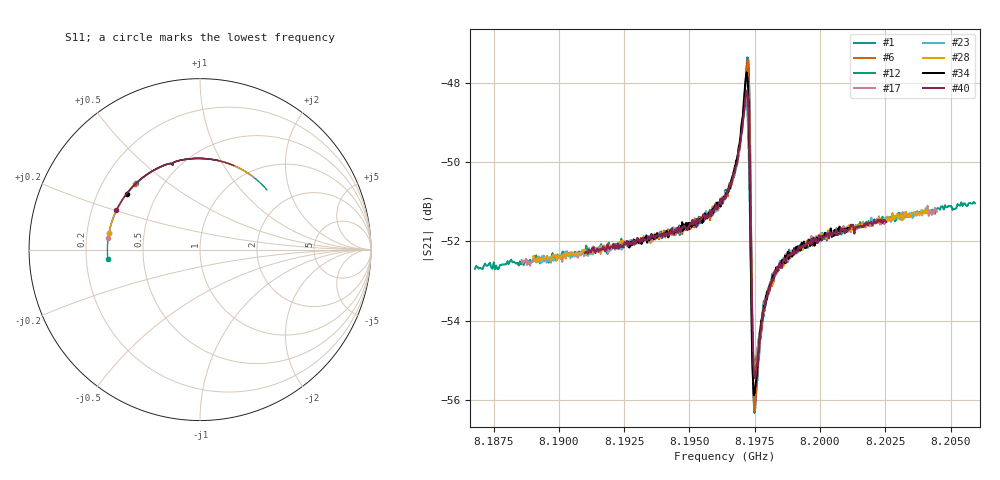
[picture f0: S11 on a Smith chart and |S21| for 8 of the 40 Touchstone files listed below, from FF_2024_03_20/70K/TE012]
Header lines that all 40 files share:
#  HZ  S  RI  R  50.00
! Rohde & Schwarz Vector Network Analyzer
! Rohde-Schwarz,ZNB20-2Port,1311601062101988,3.16
! freq[Hz]  re:S11  im:S11  re:S21  im:S21  re:S12  im:S12  re:S22  im:S22
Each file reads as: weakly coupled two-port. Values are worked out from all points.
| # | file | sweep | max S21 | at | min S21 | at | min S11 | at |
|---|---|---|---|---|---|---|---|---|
| 1 | 100_2_68.4995_70.0206757_24018.869_268.54944801330566_.s2p | 8.19377 GHz to 8.200269 GHz | -47.35 dB | 8.197214 GHz | -56.3 dB | 8.19749 GHz | -5.7 dB | 8.197295 GHz |
| 2 | 100_2_68.5005_70.0470123_40490.746_268.14134335517883_.s2p | 8.186301 GHz to 8.206322 GHz | -48.44 dB | 8.19716 GHz | -55.2 dB | 8.19751 GHz | -5.6 dB | 8.19726 GHz |
| 3 | 101_2_68.4995_70.0255432_24269.791_270.961975812912_.s2p | 8.193884 GHz to 8.200171 GHz | -47.39 dB | 8.197232 GHz | -56.2 dB | 8.197515 GHz | -5.7 dB | 8.197295 GHz |
| 4 | 101_2_68.5001_70.0474472_40271.051_270.58222222328186_.s2p | 8.187232 GHz to 8.20556 GHz | -48.47 dB | 8.19718 GHz | -55.2 dB | 8.1975 GHz | -5.6 dB | 8.19727 GHz |
| 5 | 102_2_68.5_70.0505905_40021.598_273.0319333076477_.s2p | 8.187726 GHz to 8.205167 GHz | -48.47 dB | 8.19714 GHz | -55.2 dB | 8.19745 GHz | -5.6 dB | 8.19728 GHz |
| 6 | 102_2_68.4995_70.0211029_24520.125_273.39721417427063_.s2p | 8.193679 GHz to 8.200338 GHz | -47.40 dB | 8.197241 GHz | -56.3 dB | 8.197491 GHz | -5.7 dB | 8.197308 GHz |
| 7 | 103_2_68.4991_70.0204544_24750.232_275.81690788269043_.s2p | 8.193694 GHz to 8.200323 GHz | -47.43 dB | 8.197224 GHz | -56.3 dB | 8.197506 GHz | -5.7 dB | 8.197291 GHz |
| 8 | 103_2_68.4996_70.0497208_39771.934_275.457231760025_.s2p | 8.186768 GHz to 8.205953 GHz | -48.41 dB | 8.19718 GHz | -55.3 dB | 8.19746 GHz | -5.6 dB | 8.19727 GHz |
| 9 | 104_2_68.4999_70.0235901_24990.598_278.25032091140747_.s2p | 8.193556 GHz to 8.200431 GHz | -47.47 dB | 8.197234 GHz | -56.2 dB | 8.197509 GHz | -5.7 dB | 8.197303 GHz |
| 10 | 104_2_68.5002_70.0489655_39542.285_277.874550819397_.s2p | 8.187931 GHz to 8.204998 GHz | -48.45 dB | 8.19719 GHz | -55.3 dB | 8.19749 GHz | -5.6 dB | 8.19727 GHz |
| 11 | 105_2_68.5_70.0218658_25230.576_280.8246810436249_.s2p | 8.193464 GHz to 8.200507 GHz | -47.50 dB | 8.197215 GHz | -56.2 dB | 8.197461 GHz | -5.7 dB | 8.197303 GHz |
| 12 | 105_2_68.4989_70.0454941_39282.652_280.2793765068054_.s2p | 8.186791 GHz to 8.205938 GHz | -48.40 dB | 8.19718 GHz | -55.2 dB | 8.19747 GHz | -5.6 dB | 8.19727 GHz |
| 13 | 106_2_68.4994_70.0440826_39032.902_282.7096290588379_.s2p | 8.187779 GHz to 8.205127 GHz | -48.43 dB | 8.19715 GHz | -55.2 dB | 8.19749 GHz | -5.6 dB | 8.19728 GHz |
| 14 | 106_2_68.5001_70.0265198_25480.836_283.25982427597046_.s2p | 8.193272 GHz to 8.200661 GHz | -47.53 dB | 8.197225 GHz | -56.2 dB | 8.197484 GHz | -5.7 dB | 8.197299 GHz |
| 15 | 107_2_68.5_70.0225143_25730.994_285.684042930603_.s2p | 8.193389 GHz to 8.200564 GHz | -47.54 dB | 8.197246 GHz | -56.1 dB | 8.197497 GHz | -5.7 dB | 8.1973 GHz |
| 16 | 107_2_68.4998_70.0460358_38233.902_291.0338945388794_.s2p | 8.187548 GHz to 8.205318 GHz | -48.40 dB | 8.19719 GHz | -55.3 dB | 8.19745 GHz | -5.6 dB | 8.19728 GHz |
| 17 | 108_2_68.5_70.0454941_37974.363_293.4437792301178_.s2p | 8.188584 GHz to 8.204483 GHz | -48.30 dB | 8.19717 GHz | -55.3 dB | 8.19749 GHz | -5.6 dB | 8.19729 GHz |
| 18 | 108_2_68.5004_70.0281448_25971.037_288.1190655231476_.s2p | 8.193299 GHz to 8.200635 GHz | -47.55 dB | 8.197224 GHz | -56.1 dB | 8.197481 GHz | -5.7 dB | 8.197297 GHz |
| 19 | 109_2_68.5002_70.0265198_26211.318_290.52948117256165_.s2p | 8.193141 GHz to 8.200762 GHz | -47.56 dB | 8.197218 GHz | -56.1 dB | 8.197504 GHz | -5.7 dB | 8.197294 GHz |
| 20 | 109_2_68.5007_70.0453873_37774.824_295.8246886730194_.s2p | 8.18886 GHz to 8.204256 GHz | -48.38 dB | 8.19717 GHz | -55.4 dB | 8.19748 GHz | -5.6 dB | 8.19729 GHz |
| 21 | 110_2_68.4995_70.045929_37524.578_298.235741853714_.s2p | 8.187794 GHz to 8.205136 GHz | -48.31 dB | 8.19716 GHz | -55.3 dB | 8.19751 GHz | -5.6 dB | 8.19729 GHz |
| 22 | 110_2_68.5001_70.024353_26461.574_292.97268414497375_.s2p | 8.193082 GHz to 8.20081 GHz | -47.57 dB | 8.197216 GHz | -56.1 dB | 8.197487 GHz | -5.7 dB | 8.197293 GHz |
| 23 | 111_2_68.5_70.0447388_37245.043_300.6589021682739_.s2p | 8.189047 GHz to 8.204115 GHz | -48.32 dB | 8.19718 GHz | -55.3 dB | 8.19748 GHz | -5.6 dB | 8.1973 GHz |
| 24 | 111_2_68.5005_70.0315018_27272.438_301.25202918052673_.s2p | 8.192901 GHz to 8.200947 GHz | -47.60 dB | 8.197226 GHz | -56.0 dB | 8.197487 GHz | -5.7 dB | 8.197286 GHz |
| 25 | 112_2_68.5001_70.0472336_37035.273_303.0699133872986_.s2p | 8.188893 GHz to 8.20424 GHz | -48.27 dB | 8.19718 GHz | -55.3 dB | 8.19753 GHz | -5.6 dB | 8.1973 GHz |
| 26 | 112_2_68.5002_70.0268402_27512.719_303.68436074256897_.s2p | 8.192864 GHz to 8.200975 GHz | -47.66 dB | 8.197203 GHz | -56.2 dB | 8.197487 GHz | -5.7 dB | 8.197284 GHz |
| 27 | 113_2_68.4999_70.0262985_27773.162_306.0980613231659_.s2p | 8.192809 GHz to 8.201021 GHz | -47.69 dB | 8.19722 GHz | -56.0 dB | 8.19749 GHz | -5.7 dB | 8.19728 GHz |
| 28 | 113_2_68.5004_70.0463638_36765.363_305.50499844551086_.s2p | 8.189017 GHz to 8.204139 GHz | -48.21 dB | 8.19718 GHz | -55.4 dB | 8.19749 GHz | -5.6 dB | 8.1973 GHz |
| 29 | 114_2_68.5_70.0472794_36546.211_307.9133198261261_.s2p | 8.189862 GHz to 8.203448 GHz | -48.26 dB | 8.1972 GHz | -55.4 dB | 8.1975 GHz | -5.6 dB | 8.1973 GHz |
| 30 | 114_2_68.5003_70.0305328_28012.961_308.5312111377716_.s2p | 8.192851 GHz to 8.200984 GHz | -47.73 dB | 8.197202 GHz | -56.0 dB | 8.197487 GHz | -5.7 dB | 8.197283 GHz |
| 31 | 115_2_68.4994_70.0315018_28253.449_310.94329833984375_.s2p | 8.192459 GHz to 8.201304 GHz | -47.74 dB | 8.19719 GHz | -55.9 dB | 8.19746 GHz | -5.7 dB | 8.19728 GHz |
| 32 | 115_2_68.5005_70.047821_36276.09_310.32550168037415_.s2p | 8.189317 GHz to 8.203901 GHz | -48.26 dB | 8.19719 GHz | -55.4 dB | 8.19752 GHz | -5.6 dB | 8.1973 GHz |
| 33 | 116_2_68.4998_70.0479355_36046.574_312.9944438934326_.s2p | 8.189632 GHz to 8.203646 GHz | -48.20 dB | 8.1972 GHz | -55.4 dB | 8.19748 GHz | -5.6 dB | 8.1973 GHz |
| 34 | 116_2_68.4999_70.0278168_28513.359_313.38698649406433_.s2p | 8.192635 GHz to 8.201157 GHz | -47.73 dB | 8.19719 GHz | -55.9 dB | 8.19747 GHz | -5.7 dB | 8.19728 GHz |
| 35 | 117_2_68.5001_70.0505371_35786.957_315.41483664512634_.s2p | 8.18954 GHz to 8.203725 GHz | -48.23 dB | 8.1972 GHz | -55.4 dB | 8.19752 GHz | -5.6 dB | 8.19731 GHz |
| 36 | 117_2_68.5004_70.0261917_28734.123_315.82997584342957_.s2p | 8.192794 GHz to 8.201022 GHz | -47.73 dB | 8.19722 GHz | -56.1 dB | 8.19748 GHz | -5.7 dB | 8.19728 GHz |
| 37 | 118_2_68.4997_70.0251083_29004.271_318.2648196220398_.s2p | 8.192506 GHz to 8.201254 GHz | -47.80 dB | 8.19719 GHz | -55.8 dB | 8.19747 GHz | -5.7 dB | 8.19727 GHz |
| 38 | 118_2_68.5004_70.0560608_35537.406_317.8588538169861_.s2p | 8.189387 GHz to 8.203854 GHz | -48.19 dB | 8.1972 GHz | -55.3 dB | 8.19752 GHz | -5.6 dB | 8.19731 GHz |
| 39 | 119_2_68.5_70.023056_29254.762_320.7099242210388_.s2p | 8.192192 GHz to 8.201513 GHz | -47.80 dB | 8.1972 GHz | -55.9 dB | 8.19748 GHz | -5.7 dB | 8.19727 GHz |
| 40 | 119_2_68.4995_70.052269_35307.871_320.2856330871582_.s2p | 8.190998 GHz to 8.202533 GHz | -48.19 dB | 8.1972 GHz | -55.5 dB | 8.19752 GHz | -5.6 dB | 8.19728 GHz |
